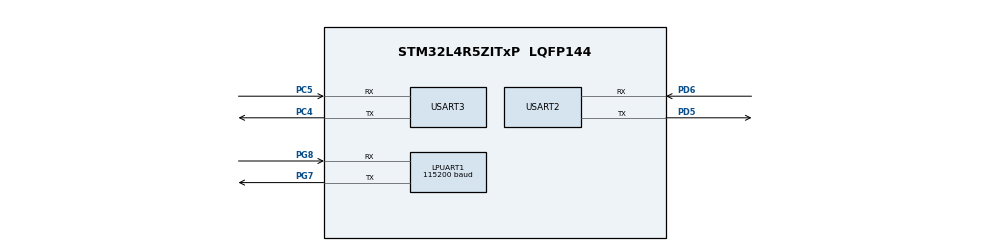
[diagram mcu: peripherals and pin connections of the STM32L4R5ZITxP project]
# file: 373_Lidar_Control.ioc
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LPUART1.BaudRate=115200
LPUART1.WordLength=UART_WORDLENGTH_8B
Mcu.Family=STM32L4
Mcu.Name=STM32L4R5ZITxP
Mcu.Package=LQFP144
NVIC.PriorityGroup=NVIC_PRIORITYGROUP_4
NVIC.USART2_IRQn=true\:0\:0\:false\:false\:true\:true\:true\:true
PA0.Signal=S_TIM2_CH1
PA1.Signal=ADCx_IN6
PA10.Signal=USB_OTG_FS_ID
PA13\ (JTMS/SWDIO).Signal=SYS_JTMS-SWDIO
PA14\ (JTCK/SWCLK).Signal=SYS_JTCK-SWCLK
PA3.Signal=ADCx_IN8
PA4.Signal=SPI1_NSS
PA5.Signal=SPI1_SCK
PA6.Signal=SPI1_MISO
PA7.Signal=SPI1_MOSI
PA8.Signal=USB_OTG_FS_SOF
PA9.Signal=USB_OTG_FS_VBUS
PB0.Signal=S_TIM3_CH3
PB1.Signal=ADCx_IN16
PB10.Signal=S_TIM2_CH3
PB12.Signal=SAI2_FS_A
PB13.Signal=SAI2_SCK_A
PB14.Signal=S_TIM15_CH1
PB15.Signal=SAI2_SD_A
PB2.Signal=COMP1_INP
PB3\ (JTDO/TRACESWO).Signal=SPI3_SCK
PB4\ (NJTRST).Signal=SPI3_MISO
PB5.Signal=SPI3_MOSI
PB6.Signal=COMP2_INP
PB8.Signal=I2C1_SCL
PB9.Signal=I2C1_SDA
PC0.Signal=ADCx_IN1
PC1.Signal=ADCx_IN2
PC10.Signal=UART4_TX
PC11.Signal=UART4_RX
PC12.Signal=SDMMC1_CK
PC13.Signal=SYS_WKUP2
PC14-OSC32_IN\ (PC14).Signal=RCC_OSC32_IN
PC15-OSC32_OUT\ (PC15).Signal=RCC_OSC32_OUT
PC2.Signal=ADCx_IN3
PC3.Signal=ADCx_IN4
PC4.Mode=Asynchronous
PC4.Signal=USART3_TX
PC5.Mode=Asynchronous
PC5.Signal=USART3_RX
PC6.Signal=SAI2_MCLK_A
PC7.Signal=S_TIM3_CH2
PC8.Signal=SDMMC1_D0
PC9.Signal=SDMMC1_D1
PD0.Signal=CAN1_RX
PD14.Signal=S_TIM4_CH3
PD15.Signal=S_TIM4_CH4
PD2.Signal=SDMMC1_CMD
PD3.Signal=USART2_CTS
PD4.Signal=USART2_RTS
PD5.Mode=Asynchronous
PD5.Signal=USART2_TX
PD6.Mode=Asynchronous
PD6.Signal=USART2_RX
PE0.Signal=S_TIM4_ETR
PE10.Signal=TIM1_CH2N
PE11.Signal=S_TIM1_CH2
PE12.Signal=TIM1_CH3N
PE13.Signal=S_TIM1_CH3
PE14.Signal=TIM1_BKIN2
PE15.Signal=TIM1_BKIN
PE2.Signal=SAI1_MCLK_A
PE3.Signal=SAI1_SD_B
PE7.Signal=S_TIM1_ETR
PE8.Signal=TIM1_CH1N
PE9.Signal=S_TIM1_CH1
PF0.Signal=I2C2_SDA
PF1.Signal=I2C2_SCL
PF2.Signal=I2C2_SMBA
PF7.Signal=SAI1_MCLK_B
PG7.Mode=Asynchronous
PG7.Signal=LPUART1_TX
PG8.Mode=Asynchronous
PG8.Signal=LPUART1_RX
PH0-OSC_IN\ (PH0).Signal=RCC_OSC_IN
PH1-OSC_OUT\ (PH1).Signal=RCC_OSC_OUT
ProjectManager.HeapSize=0x200
ProjectManager.StackSize=0x400
ProjectManager.TargetToolchain=STM32CubeIDE
RCC.HSE_VALUE=8000000
RCC.HSI48_VALUE=48000000
RCC.HSI_VALUE=16000000
RCC.LSE_VALUE=32768
RCC.MSI_VALUE=4000000
RCC.VCOOutputFreq_Value=32000000
SH.ADCx_IN1.0=ADC1_IN1
SH.ADCx_IN16.0=ADC1_IN16
SH.ADCx_IN2.0=ADC1_IN2
SH.ADCx_IN3.0=ADC1_IN3
SH.ADCx_IN4.0=ADC1_IN4
SH.ADCx_IN6.0=ADC1_IN6
SH.ADCx_IN8.0=ADC1_IN8
SH.S_TIM15_CH1.0=TIM15_CH1
SH.S_TIM1_CH1.0=TIM1_CH1
SH.S_TIM1_CH2.0=TIM1_CH2
SH.S_TIM1_CH3.0=TIM1_CH3
SH.S_TIM1_ETR.0=TIM1_ETR
SH.S_TIM2_CH1.0=TIM2_CH1
SH.S_TIM2_CH3.0=TIM2_CH3
SH.S_TIM3_CH2.0=TIM3_CH2
SH.S_TIM3_CH3.0=TIM3_CH3
SH.S_TIM4_CH3.0=TIM4_CH3
SH.S_TIM4_CH4.0=TIM4_CH4
SH.S_TIM4_ETR.0=TIM4_ETR
USART2.VirtualMode-Asynchronous=VM_ASYNC
USART3.VirtualMode-Asynchronous=VM_ASYNC
board=NUCLEO-L4R5ZI-P

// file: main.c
/* USER CODE BEGIN Header */
/**
  ******************************************************************************
  * @file           : main.c
  * @brief          : Main program body
  ******************************************************************************
  * @attention
  *
  * Copyright (c) 2025 STMicroelectronics.
  * All rights reserved.
  *
  * This software is licensed under terms that can be found in the LICENSE file
  * in the root directory of this software component.
  * If no LICENSE file comes with this software, it is provided AS-IS.
  *
  ******************************************************************************
  */
/* USER CODE END Header */
#include "main.h"

/* USER CODE BEGIN Includes */
#include "stdbool.h"
#include "math.h"
#include "stdio.h"

/* USER CODE END Includes */

/* USER CODE BEGIN PD */
#define PI 3.141592654
/* USER CODE END PD */

UART_HandleTypeDef hlpuart1;
UART_HandleTypeDef huart2;
UART_HandleTypeDef huart3;

/* USER CODE BEGIN PV */
uint8_t data_buffer[2000];
uint16_t express_distance[40];
int8_t express_theta[40];
float w_i = 0;

char uart_rx_buffer[64];

float theta_min = 0, theta_max = 90;
float x_min = 9, x_max = 26;
float y_min = 0, y_max = 22;

float x_hundreds = 5;
float x_tens_ones = 65;
float y_hundreds = 4;
float y_tens_ones = 58;

// 1280, 1028
// 640, 480
// 563, 457
int x_resolution = 272;
int y_resolution = 340;

/* USER CODE END PV */

void SystemClock_Config(void);
static void MX_GPIO_Init(void);
static void MX_USART2_UART_Init(void);
static void MX_USART3_UART_Init(void);
static void MX_LPUART1_UART_Init(void);

/* USER CODE BEGIN 0 */

void reset_lidar(){
	uint8_t message[2] = {'\0'};
	uint8_t garbage[64] = {'\0'};

	message[0] = 0xA5;
	message[1] = 0x40;
	//printf("\nReset start\n");

	HAL_StatusTypeDef ret;

	ret = HAL_UART_Transmit(&huart2, message, 2, HAL_MAX_DELAY);
	ret = HAL_UART_Receive(&huart2, garbage, 64, 1000);
	HAL_Delay(50);
	//printf("\nReset done\n");
}

bool theta_in_range(float theta_check, float error, float theta_lo, float theta_hi){
	if(theta_check >= theta_lo && theta_check < theta_hi)
		return true;
	theta_check += error;
	if((theta_check >= theta_lo && theta_check < theta_hi)||(theta_check-360.0 >= theta_lo && theta_check-360.0 < theta_hi))
		return true;
	theta_check -= 2.0*error;
	if((theta_check >= theta_lo && theta_check < theta_hi)||(theta_check+360.0 >= theta_lo && theta_check+360.0 < theta_hi))
		return true;

	return false;
}

float get_x(float r, float theta){
	return r*cos(theta*PI/180.0);
}

float get_y(float r, float theta){
	return r*sin(theta*PI/180.0);
}

bool xy_in_range(float r, float theta, float max_x, float max_y){
	float cur_x = get_x(r, theta);
	float cur_y = get_y(r, theta);

//	printf("r=%f\ttheta=%f\nx=%f\ty=%f\n", r, theta, cur_x, cur_y);

	return (cur_x <= max_x && cur_y <= max_y);
}

void express_scan(float x_lo, float x_hi, float y_lo, float y_hi){
	uint8_t message[9] = {'\0'};
	uint8_t descriptor_buffer[100] = {'\0'};

	HAL_StatusTypeDef ret;

	int num_scan = 16;
	ret = HAL_UART_Receive(&huart2, data_buffer, num_scan*84, HAL_MAX_DELAY);

	message[0] = 0xA5;
	message[1] = 0x25;
	ret = HAL_UART_Transmit(&huart2, message, 2, HAL_MAX_DELAY);

	message[0] = 0xA5;
	message[1] = 0x82;
	message[2] = 0x05;
	message[8] = 0x22;
	ret = HAL_UART_Transmit(&huart2, message, 9, HAL_MAX_DELAY);
	ret = HAL_UART_Receive(&huart2, descriptor_buffer, 7, HAL_MAX_DELAY);

	float xx = 0;
	float yy = 0;
	int cnt = 0;

	for(int l = 0; l < num_scan; l++){
		float w_next = ((data_buffer[(l*84)+3] & (0b1111111))<<8) | data_buffer[(l*84)+2];
		w_next /= 64.0f;

		float angle_diff = (w_i <= w_next) ? (w_next - w_i) : (360.0 + w_next - w_i);
		angle_diff /= 32.0;

		if(l>0)
			for(int k = 0; k < 32; k++){
				float theta_k = w_i + (angle_diff*k) - (float)(express_theta[k]/8.0f);

				float x = express_distance[k]*cos(theta_k*PI/180.0)/10;
				float y = express_distance[k]*sin(theta_k*PI/180.0)/10;

				if(x < x_hi && x > x_lo && y > y_lo && y < y_hi){
					xx += x;
					yy += y;
					cnt++;
				}
			}

		w_i = w_next;

		int n = 0;
		for(int i = 4; i < 79; i+=5){
			express_distance[n] = ((data_buffer[(l*84)+i]>>2)&0b111111) | (data_buffer[(l*84)+i+1]<<6);
			uint8_t dt = ((data_buffer[(l*84)+i]&0b11)<<4) | (data_buffer[(l*84)+i+4] & 0b1111);
			express_theta[n] = (dt & 0x20) ? (dt | 0xC0) : dt;
			n++;
			express_distance[n] = ((data_buffer[(l*84)+i+2]>>2)&0b111111) | (data_buffer[(l*84)+i+3]<<6);
			dt = ((data_buffer[(l*84)+i+2]&0b11)<<4) | ((data_buffer[(l*84)+i+4] & 0b11110000)>>4);
			express_theta[n] = (dt & 0x20) ? (dt | 0xC0) : dt;
			n++;
		}
	}

	float avg_x = xx/((float)cnt);
	float avg_y = yy/((float)cnt);

	uint16_t x_coor = x_resolution*((avg_x - x_lo) / (x_hi - x_lo));
	uint16_t y_coor = y_resolution*((avg_y - y_lo) / (y_hi - y_lo));

	uint8_t x_upper = (x_coor >> 8)& 0xFF;
	uint8_t x_lower = (x_coor & 0xFF);
	uint8_t y_upper = (y_coor >> 8)& 0xFF;
	uint8_t y_lower = (y_coor & 0xFF);

	uint8_t xy_coor[4] = {x_upper, x_lower, y_upper, y_lower};

	ret = HAL_UART_Transmit(&huart3, xy_coor, 4, HAL_MAX_DELAY);

	printf("Avg of %d points (x,y): (%f, %f)cm\n\tcoordinate: (%d, %d)\n", cnt, avg_x, avg_y, x_coor, y_coor);
}

void scan_xy(float theta_lo, float theta_hi, float x_lo, float x_hi, float y_lo, float y_hi){
	uint8_t message[2] = {'\0'};
	uint8_t descriptor_buffer [7] = {'\0'};

	int num_data = 280;

	message[0] = 0xA5;
	message[1] = 0x20;

	HAL_StatusTypeDef ret;

	ret = HAL_UART_Transmit(&huart2, message, 2, HAL_MAX_DELAY);
	ret = HAL_UART_Receive(&huart2, descriptor_buffer, 7, 500);
	ret = HAL_UART_Receive(&huart2, data_buffer, 5*num_data, 1700);
	printf("returned: %d\n", ret);

	message[0] = 0xA5;
	message[1] = 0x25;
	ret = HAL_UART_Transmit(&huart2, message, 2, HAL_MAX_DELAY);

	while (ret == HAL_OK){ret = HAL_UART_Receive(&huart2, descriptor_buffer, 1, 1000);}

	HAL_UART_Receive(&huart2, data_buffer, 10, 100);
	HAL_Delay(2);

	float xx = 0;
	float yy = 0;
	int k = 0;

	for(int i = 0; i < num_data; i++){
		int Angle = (data_buffer[(5*i)+2]<<7)|(data_buffer[(5*i)+1]>>1);
		float angle = (float)(Angle) / 64.0;
		int Distance = (data_buffer[(5*i)+4]<<8)|(data_buffer[(5*i)+3]);
		float distance = (float)(Distance) / 4.0;

		if(distance <= 1.0) continue;

		float cur_x = get_x(distance, angle)/10;
		float cur_y = get_y(distance, angle)/10;

		if(theta_in_range(angle, 10.0, theta_lo, theta_hi) && cur_x >= x_lo && cur_x <= x_hi && cur_y >= y_lo && cur_y <= y_hi){
			k++;
			xx = xx+cur_x;
			yy = yy+cur_y;
		}

	}
	float avg_x = xx/((int)k);
	float avg_y = yy/((int)k);

	uint16_t x_coor = x_resolution*((avg_x - x_lo) / (x_hi - x_lo));
	uint16_t y_coor = y_resolution*((avg_y - y_lo) / (y_hi - y_lo));

	uint8_t x_upper = (x_coor >> 8)& 0xFF;
	uint8_t x_lower = (x_coor & 0xFF);
	uint8_t y_upper = (y_coor >> 8)& 0xFF;
	uint8_t y_lower = (y_coor & 0xFF);

	uint8_t xy_coor[4] = {x_upper, x_lower, y_upper, y_lower};

	ret = HAL_UART_Transmit(&huart3, xy_coor, 4, HAL_MAX_DELAY);

	printf("Avg of %d points (x,y): (%f, %f)cm\n\tcoordinate: (%d, %d)\n", k, avg_x, avg_y, x_coor, y_coor);
}

void ask_calibration_input(const char* label, float* variable) {
	char c;
	int i = 0;
    bool reading = true;

	printf("Enter %s: ", label);
	fflush(stdout);

	memset(uart_rx_buffer, 0, sizeof(uart_rx_buffer));

	while (reading && i < sizeof(uart_rx_buffer) - 1) {
		if (HAL_UART_Receive(&hlpuart1, (uint8_t*)&c, 1, 5000) == HAL_OK) {
			HAL_UART_Transmit(&hlpuart1, (uint8_t*)&c, 1, 100);

			if (c == '\r' || c == '\n') {
				reading = false;
				HAL_UART_Receive(&hlpuart1, (uint8_t*)&c, 1, 10);
				break;
			}

			uart_rx_buffer[i++] = c;
		} else {
			break;
		}
	}

	uart_rx_buffer[i] = '\0';

	if (sscanf(uart_rx_buffer, "%f", variable) == 1) {
		printf("\n%s set to: %f\n", label, *variable);
	} else {
		printf("\nInvalid input for %s. Using default: %f\n", label, *variable);
	}

	fflush(stdout);
}

/* USER CODE END 0 */

int main(void)
{

  /* MCU Configuration--------------------------------------------------------*/

  /* Reset of all peripherals, Initializes the Flash interface and the Systick. */
  HAL_Init();

  /* Configure the system clock */
  SystemClock_Config();

  /* Initialize all configured peripherals */
  MX_GPIO_Init();
  MX_USART2_UART_Init();
  MX_USART3_UART_Init();
  MX_LPUART1_UART_Init();
  /* USER CODE BEGIN 2 */

  printf("---\nNew Run\n");
  HAL_Delay(100);
  reset_lidar();
  printf("---\nReset Done\n");

  printf("Would you like to customize lidar parameters? (Y=1 / N=0)\n");
  float customize_param = 0;
  ask_calibration_input("(Y=1 / N=0)", &customize_param);

  if(customize_param == 1){
//	  ask_calibration_input("x_hundreds", &x_hundreds);
//	  ask_calibration_input("x_tens_ones", &x_tens_ones);
//	  ask_calibration_input("y_hundreds", &y_hundreds);
//	  ask_calibration_input("y_tens_ones", &y_tens_ones);
//	  x_resolution = (100*(int)(x_hundreds))+((int)(x_tens_ones));
//	  y_resolution = (100*(int)(y_hundreds))+((int)(y_tens_ones));
	  ask_calibration_input("theta_min", &theta_min);
	  ask_calibration_input("theta_max", &theta_max);
	  ask_calibration_input("x_min", &x_min);
	  ask_calibration_input("x_max", &x_max);
	  ask_calibration_input("y_min", &y_min);
	  ask_calibration_input("y_max", &y_max);
  }

//  printf("x_hud = %d, x_tenone = %d\n", x_hundreds, x_tens_ones);

  printf("Starting scan with parameters:\n");
  printf("resolution: (%d,%d), theta: [%f, %f], x: [%f, %f], y: [%f, %f]\n", x_resolution, y_resolution, theta_min, theta_max, x_min, x_max, y_min, y_max);

//  	uint8_t message[9] = {'\0'};
//	uint8_t descriptor_buffer[9] = {'\0'};
//
//	message[0] = 0xA5;
//	message[1] = 0x82;
//	message[2] = 0x05;
//	message[8] = 0x22;
//
//	HAL_StatusTypeDef ret;
//
//	ret = HAL_UART_Transmit(&huart2, message, 9, HAL_MAX_DELAY);
//	ret = HAL_UART_Receive(&huart2, descriptor_buffer, 7, HAL_MAX_DELAY);

  /* USER CODE END 2 */

  /* Infinite loop */
  /* USER CODE BEGIN WHILE */
  while (1)
  {
	  scan_xy(theta_min, theta_max, x_min, x_max, y_min, y_max);
//	   8, 41, 0, 23 cardboard
//	   9, 47, 0, 31 monitor
//	  express_scan(9, 47, 0, 31);

	  /* USER CODE END WHILE */

  }
}

void SystemClock_Config(void)
{
  RCC_OscInitTypeDef RCC_OscInitStruct = {0};
  RCC_ClkInitTypeDef RCC_ClkInitStruct = {0};

  /** Configure the main internal regulator output voltage
  */
  if (HAL_PWREx_ControlVoltageScaling(PWR_REGULATOR_VOLTAGE_SCALE1) != HAL_OK)
  {
    Error_Handler();
  }

  /** Initializes the RCC Oscillators according to the specified parameters
  * in the RCC_OscInitTypeDef structure.
  */
  RCC_OscInitStruct.OscillatorType = RCC_OSCILLATORTYPE_MSI;
  RCC_OscInitStruct.MSIState = RCC_MSI_ON;
  RCC_OscInitStruct.MSICalibrationValue = 0;
  RCC_OscInitStruct.MSIClockRange = RCC_MSIRANGE_6;
  RCC_OscInitStruct.PLL.PLLState = RCC_PLL_NONE;
  if (HAL_RCC_OscConfig(&RCC_OscInitStruct) != HAL_OK)
  {
    Error_Handler();
  }

  /** Initializes the CPU, AHB and APB buses clocks
  */
  RCC_ClkInitStruct.ClockType = RCC_CLOCKTYPE_HCLK|RCC_CLOCKTYPE_SYSCLK
                              |RCC_CLOCKTYPE_PCLK1|RCC_CLOCKTYPE_PCLK2;
  RCC_ClkInitStruct.SYSCLKSource = RCC_SYSCLKSOURCE_MSI;
  RCC_ClkInitStruct.AHBCLKDivider = RCC_SYSCLK_DIV1;
  RCC_ClkInitStruct.APB1CLKDivider = RCC_HCLK_DIV1;
  RCC_ClkInitStruct.APB2CLKDivider = RCC_HCLK_DIV1;

  if (HAL_RCC_ClockConfig(&RCC_ClkInitStruct, FLASH_LATENCY_0) != HAL_OK)
  {
    Error_Handler();
  }
}

static void MX_LPUART1_UART_Init(void)
{

  hlpuart1.Instance = LPUART1;
  hlpuart1.Init.BaudRate = 115200;
  hlpuart1.Init.WordLength = UART_WORDLENGTH_8B;
  hlpuart1.Init.StopBits = UART_STOPBITS_1;
  hlpuart1.Init.Parity = UART_PARITY_NONE;
  hlpuart1.Init.Mode = UART_MODE_TX_RX;
  hlpuart1.Init.HwFlowCtl = UART_HWCONTROL_NONE;
  hlpuart1.Init.OneBitSampling = UART_ONE_BIT_SAMPLE_DISABLE;
  hlpuart1.Init.ClockPrescaler = UART_PRESCALER_DIV1;
  hlpuart1.AdvancedInit.AdvFeatureInit = UART_ADVFEATURE_NO_INIT;
  hlpuart1.FifoMode = UART_FIFOMODE_DISABLE;
  if (HAL_UART_Init(&hlpuart1) != HAL_OK)
  {
    Error_Handler();
  }
  if (HAL_UARTEx_SetTxFifoThreshold(&hlpuart1, UART_TXFIFO_THRESHOLD_1_8) != HAL_OK)
  {
    Error_Handler();
  }
  if (HAL_UARTEx_SetRxFifoThreshold(&hlpuart1, UART_RXFIFO_THRESHOLD_1_8) != HAL_OK)
  {
    Error_Handler();
  }
  if (HAL_UARTEx_DisableFifoMode(&hlpuart1) != HAL_OK)
  {
    Error_Handler();
  }

}

static void MX_USART2_UART_Init(void)
{

  huart2.Instance = USART2;
  huart2.Init.BaudRate = 115200;
  huart2.Init.WordLength = UART_WORDLENGTH_8B;
  huart2.Init.StopBits = UART_STOPBITS_1;
  huart2.Init.Parity = UART_PARITY_NONE;
  huart2.Init.Mode = UART_MODE_TX_RX;
  huart2.Init.HwFlowCtl = UART_HWCONTROL_NONE;
  huart2.Init.OverSampling = UART_OVERSAMPLING_16;
  huart2.Init.OneBitSampling = UART_ONE_BIT_SAMPLE_DISABLE;
  huart2.Init.ClockPrescaler = UART_PRESCALER_DIV1;
  huart2.AdvancedInit.AdvFeatureInit = UART_ADVFEATURE_NO_INIT;
  if (HAL_UART_Init(&huart2) != HAL_OK)
  {
    Error_Handler();
  }
  if (HAL_UARTEx_SetTxFifoThreshold(&huart2, UART_TXFIFO_THRESHOLD_1_8) != HAL_OK)
  {
    Error_Handler();
  }
  if (HAL_UARTEx_SetRxFifoThreshold(&huart2, UART_RXFIFO_THRESHOLD_1_8) != HAL_OK)
  {
    Error_Handler();
  }
  if (HAL_UARTEx_DisableFifoMode(&huart2) != HAL_OK)
  {
    Error_Handler();
  }

}

static void MX_USART3_UART_Init(void)
{

  huart3.Instance = USART3;
  huart3.Init.BaudRate = 115200;
  huart3.Init.WordLength = UART_WORDLENGTH_8B;
  huart3.Init.StopBits = UART_STOPBITS_1;
  huart3.Init.Parity = UART_PARITY_NONE;
  huart3.Init.Mode = UART_MODE_TX_RX;
  huart3.Init.HwFlowCtl = UART_HWCONTROL_NONE;
  huart3.Init.OverSampling = UART_OVERSAMPLING_16;
  huart3.Init.OneBitSampling = UART_ONE_BIT_SAMPLE_DISABLE;
  huart3.Init.ClockPrescaler = UART_PRESCALER_DIV1;
  huart3.AdvancedInit.AdvFeatureInit = UART_ADVFEATURE_NO_INIT;
  if (HAL_UART_Init(&huart3) != HAL_OK)
  {
    Error_Handler();
  }
  if (HAL_UARTEx_SetTxFifoThreshold(&huart3, UART_TXFIFO_THRESHOLD_1_8) != HAL_OK)
  {
    Error_Handler();
  }
  if (HAL_UARTEx_SetRxFifoThreshold(&huart3, UART_RXFIFO_THRESHOLD_1_8) != HAL_OK)
  {
    Error_Handler();
  }
  if (HAL_UARTEx_DisableFifoMode(&huart3) != HAL_OK)
  {
    Error_Handler();
  }

}

static void MX_GPIO_Init(void)
{
  GPIO_InitTypeDef GPIO_InitStruct = {0};

  /* GPIO Ports Clock Enable */
  __HAL_RCC_GPIOE_CLK_ENABLE();
  __HAL_RCC_GPIOC_CLK_ENABLE();
  __HAL_RCC_GPIOF_CLK_ENABLE();
  __HAL_RCC_GPIOH_CLK_ENABLE();
  __HAL_RCC_GPIOA_CLK_ENABLE();
  __HAL_RCC_GPIOB_CLK_ENABLE();
  __HAL_RCC_GPIOD_CLK_ENABLE();
  __HAL_RCC_GPIOG_CLK_ENABLE();
  HAL_PWREx_EnableVddIO2();

  /*Configure GPIO pins : PE2 PE3 */
  GPIO_InitStruct.Pin = GPIO_PIN_2|GPIO_PIN_3;
  GPIO_InitStruct.Mode = GPIO_MODE_AF_PP;
  GPIO_InitStruct.Pull = GPIO_NOPULL;
  GPIO_InitStruct.Speed = GPIO_SPEED_FREQ_LOW;
  GPIO_InitStruct.Alternate = GPIO_AF13_SAI1;
  HAL_GPIO_Init(GPIOE, &GPIO_InitStruct);

  /*Configure GPIO pins : PF0 PF1 PF2 */
  GPIO_InitStruct.Pin = GPIO_PIN_0|GPIO_PIN_1|GPIO_PIN_2;
  GPIO_InitStruct.Mode = GPIO_MODE_AF_OD;
  GPIO_InitStruct.Pull = GPIO_NOPULL;
  GPIO_InitStruct.Speed = GPIO_SPEED_FREQ_VERY_HIGH;
  GPIO_InitStruct.Alternate = GPIO_AF4_I2C2;
  HAL_GPIO_Init(GPIOF, &GPIO_InitStruct);

  /*Configure GPIO pin : PF7 */
  GPIO_InitStruct.Pin = GPIO_PIN_7;
  GPIO_InitStruct.Mode = GPIO_MODE_AF_PP;
  GPIO_InitStruct.Pull = GPIO_NOPULL;
  GPIO_InitStruct.Speed = GPIO_SPEED_FREQ_LOW;
  GPIO_InitStruct.Alternate = GPIO_AF13_SAI1;
  HAL_GPIO_Init(GPIOF, &GPIO_InitStruct);

  /*Configure GPIO pins : PC0 PC1 PC2 PC3 */
  GPIO_InitStruct.Pin = GPIO_PIN_0|GPIO_PIN_1|GPIO_PIN_2|GPIO_PIN_3;
  GPIO_InitStruct.Mode = GPIO_MODE_ANALOG_ADC_CONTROL;
  GPIO_InitStruct.Pull = GPIO_NOPULL;
  HAL_GPIO_Init(GPIOC, &GPIO_InitStruct);

  /*Configure GPIO pin : PA0 */
  GPIO_InitStruct.Pin = GPIO_PIN_0;
  GPIO_InitStruct.Mode = GPIO_MODE_AF_PP;
  GPIO_InitStruct.Pull = GPIO_NOPULL;
  GPIO_InitStruct.Speed = GPIO_SPEED_FREQ_LOW;
  GPIO_InitStruct.Alternate = GPIO_AF1_TIM2;
  HAL_GPIO_Init(GPIOA, &GPIO_InitStruct);

  /*Configure GPIO pins : PA1 PA3 */
  GPIO_InitStruct.Pin = GPIO_PIN_1|GPIO_PIN_3;
  GPIO_InitStruct.Mode = GPIO_MODE_ANALOG_ADC_CONTROL;
  GPIO_InitStruct.Pull = GPIO_NOPULL;
  HAL_GPIO_Init(GPIOA, &GPIO_InitStruct);

  /*Configure GPIO pins : PA4 PA5 PA6 PA7 */
  GPIO_InitStruct.Pin = GPIO_PIN_4|GPIO_PIN_5|GPIO_PIN_6|GPIO_PIN_7;
  GPIO_InitStruct.Mode = GPIO_MODE_AF_PP;
  GPIO_InitStruct.Pull = GPIO_NOPULL;
  GPIO_InitStruct.Speed = GPIO_SPEED_FREQ_VERY_HIGH;
  GPIO_InitStruct.Alternate = GPIO_AF5_SPI1;
  HAL_GPIO_Init(GPIOA, &GPIO_InitStruct);

  /*Configure GPIO pin : PB0 */
  GPIO_InitStruct.Pin = GPIO_PIN_0;
  GPIO_InitStruct.Mode = GPIO_MODE_AF_PP;
  GPIO_InitStruct.Pull = GPIO_NOPULL;
  GPIO_InitStruct.Speed = GPIO_SPEED_FREQ_LOW;
  GPIO_InitStruct.Alternate = GPIO_AF2_TIM3;
  HAL_GPIO_Init(GPIOB, &GPIO_InitStruct);

  /*Configure GPIO pin : PB1 */
  GPIO_InitStruct.Pin = GPIO_PIN_1;
  GPIO_InitStruct.Mode = GPIO_MODE_ANALOG_ADC_CONTROL;
  GPIO_InitStruct.Pull = GPIO_NOPULL;
  HAL_GPIO_Init(GPIOB, &GPIO_InitStruct);

  /*Configure GPIO pins : PB2 PB6 */
  GPIO_InitStruct.Pin = GPIO_PIN_2|GPIO_PIN_6;
  GPIO_InitStruct.Mode = GPIO_MODE_ANALOG;
  GPIO_InitStruct.Pull = GPIO_NOPULL;
  HAL_GPIO_Init(GPIOB, &GPIO_InitStruct);

  /*Configure GPIO pins : PE7 PE8 PE9 PE10
                           PE11 PE12 PE13 */
  GPIO_InitStruct.Pin = GPIO_PIN_7|GPIO_PIN_8|GPIO_PIN_9|GPIO_PIN_10
                          |GPIO_PIN_11|GPIO_PIN_12|GPIO_PIN_13;
  GPIO_InitStruct.Mode = GPIO_MODE_AF_PP;
  GPIO_InitStruct.Pull = GPIO_NOPULL;
  GPIO_InitStruct.Speed = GPIO_SPEED_FREQ_LOW;
  GPIO_InitStruct.Alternate = GPIO_AF1_TIM1;
  HAL_GPIO_Init(GPIOE, &GPIO_InitStruct);

  /*Configure GPIO pins : PE14 PE15 */
  GPIO_InitStruct.Pin = GPIO_PIN_14|GPIO_PIN_15;
  GPIO_InitStruct.Mode = GPIO_MODE_AF_PP;
  GPIO_InitStruct.Pull = GPIO_NOPULL;
  GPIO_InitStruct.Speed = GPIO_SPEED_FREQ_LOW;
  GPIO_InitStruct.Alternate = GPIO_AF3_TIM1_COMP1;
  HAL_GPIO_Init(GPIOE, &GPIO_InitStruct);

  /*Configure GPIO pin : PB10 */
  GPIO_InitStruct.Pin = GPIO_PIN_10;
  GPIO_InitStruct.Mode = GPIO_MODE_AF_PP;
  GPIO_InitStruct.Pull = GPIO_NOPULL;
  GPIO_InitStruct.Speed = GPIO_SPEED_FREQ_LOW;
  GPIO_InitStruct.Alternate = GPIO_AF1_TIM2;
  HAL_GPIO_Init(GPIOB, &GPIO_InitStruct);

  /*Configure GPIO pins : PB12 PB13 PB15 */
  GPIO_InitStruct.Pin = GPIO_PIN_12|GPIO_PIN_13|GPIO_PIN_15;
  GPIO_InitStruct.Mode = GPIO_MODE_AF_PP;
  GPIO_InitStruct.Pull = GPIO_NOPULL;
  GPIO_InitStruct.Speed = GPIO_SPEED_FREQ_LOW;
  GPIO_InitStruct.Alternate = GPIO_AF13_SAI2;
  HAL_GPIO_Init(GPIOB, &GPIO_InitStruct);

  /*Configure GPIO pin : PB14 */
  GPIO_InitStruct.Pin = GPIO_PIN_14;
  GPIO_InitStruct.Mode = GPIO_MODE_AF_PP;
  GPIO_InitStruct.Pull = GPIO_NOPULL;
  GPIO_InitStruct.Speed = GPIO_SPEED_FREQ_LOW;
  GPIO_InitStruct.Alternate = GPIO_AF14_TIM15;
  HAL_GPIO_Init(GPIOB, &GPIO_InitStruct);

  /*Configure GPIO pins : PD14 PD15 */
  GPIO_InitStruct.Pin = GPIO_PIN_14|GPIO_PIN_15;
  GPIO_InitStruct.Mode = GPIO_MODE_AF_PP;
  GPIO_InitStruct.Pull = GPIO_NOPULL;
  GPIO_InitStruct.Speed = GPIO_SPEED_FREQ_LOW;
  GPIO_InitStruct.Alternate = GPIO_AF2_TIM4;
  HAL_GPIO_Init(GPIOD, &GPIO_InitStruct);

  /*Configure GPIO pin : PC6 */
  GPIO_InitStruct.Pin = GPIO_PIN_6;
  GPIO_InitStruct.Mode = GPIO_MODE_AF_PP;
  GPIO_InitStruct.Pull = GPIO_NOPULL;
  GPIO_InitStruct.Speed = GPIO_SPEED_FREQ_LOW;
  GPIO_InitStruct.Alternate = GPIO_AF13_SAI2;
  HAL_GPIO_Init(GPIOC, &GPIO_InitStruct);

  /*Configure GPIO pin : PC7 */
  GPIO_InitStruct.Pin = GPIO_PIN_7;
  GPIO_InitStruct.Mode = GPIO_MODE_AF_PP;
  GPIO_InitStruct.Pull = GPIO_NOPULL;
  GPIO_InitStruct.Speed = GPIO_SPEED_FREQ_LOW;
  GPIO_InitStruct.Alternate = GPIO_AF2_TIM3;
  HAL_GPIO_Init(GPIOC, &GPIO_InitStruct);

  /*Configure GPIO pins : PC8 PC9 PC12 */
  GPIO_InitStruct.Pin = GPIO_PIN_8|GPIO_PIN_9|GPIO_PIN_12;
  GPIO_InitStruct.Mode = GPIO_MODE_AF_PP;
  GPIO_InitStruct.Pull = GPIO_NOPULL;
  GPIO_InitStruct.Speed = GPIO_SPEED_FREQ_VERY_HIGH;
  GPIO_InitStruct.Alternate = GPIO_AF12_SDMMC1;
  HAL_GPIO_Init(GPIOC, &GPIO_InitStruct);

  /*Configure GPIO pins : PA8 PA10 */
  GPIO_InitStruct.Pin = GPIO_PIN_8|GPIO_PIN_10;
  GPIO_InitStruct.Mode = GPIO_MODE_AF_PP;
  GPIO_InitStruct.Pull = GPIO_NOPULL;
  GPIO_InitStruct.Speed = GPIO_SPEED_FREQ_VERY_HIGH;
  GPIO_InitStruct.Alternate = GPIO_AF10_OTG_FS;
  HAL_GPIO_Init(GPIOA, &GPIO_InitStruct);

  /*Configure GPIO pin : PA9 */
  GPIO_InitStruct.Pin = GPIO_PIN_9;
  GPIO_InitStruct.Mode = GPIO_MODE_INPUT;
  GPIO_InitStruct.Pull = GPIO_NOPULL;
  HAL_GPIO_Init(GPIOA, &GPIO_InitStruct);

  /*Configure GPIO pins : PC10 PC11 */
  GPIO_InitStruct.Pin = GPIO_PIN_10|GPIO_PIN_11;
  GPIO_InitStruct.Mode = GPIO_MODE_AF_PP;
  GPIO_InitStruct.Pull = GPIO_NOPULL;
  GPIO_InitStruct.Speed = GPIO_SPEED_FREQ_VERY_HIGH;
  GPIO_InitStruct.Alternate = GPIO_AF8_UART4;
  HAL_GPIO_Init(GPIOC, &GPIO_InitStruct);

  /*Configure GPIO pin : PD0 */
  GPIO_InitStruct.Pin = GPIO_PIN_0;
  GPIO_InitStruct.Mode = GPIO_MODE_AF_PP;
  GPIO_InitStruct.Pull = GPIO_NOPULL;
  GPIO_InitStruct.Speed = GPIO_SPEED_FREQ_VERY_HIGH;
  GPIO_InitStruct.Alternate = GPIO_AF9_CAN1;
  HAL_GPIO_Init(GPIOD, &GPIO_InitStruct);

  /*Configure GPIO pin : PD2 */
  GPIO_InitStruct.Pin = GPIO_PIN_2;
  GPIO_InitStruct.Mode = GPIO_MODE_AF_PP;
  GPIO_InitStruct.Pull = GPIO_NOPULL;
  GPIO_InitStruct.Speed = GPIO_SPEED_FREQ_VERY_HIGH;
  GPIO_InitStruct.Alternate = GPIO_AF12_SDMMC1;
  HAL_GPIO_Init(GPIOD, &GPIO_InitStruct);

  /*Configure GPIO pins : PB3 PB4 PB5 */
  GPIO_InitStruct.Pin = GPIO_PIN_3|GPIO_PIN_4|GPIO_PIN_5;
  GPIO_InitStruct.Mode = GPIO_MODE_AF_PP;
  GPIO_InitStruct.Pull = GPIO_NOPULL;
  GPIO_InitStruct.Speed = GPIO_SPEED_FREQ_VERY_HIGH;
  GPIO_InitStruct.Alternate = GPIO_AF6_SPI3;
  HAL_GPIO_Init(GPIOB, &GPIO_InitStruct);

  /*Configure GPIO pins : PB8 PB9 */
  GPIO_InitStruct.Pin = GPIO_PIN_8|GPIO_PIN_9;
  GPIO_InitStruct.Mode = GPIO_MODE_AF_OD;
  GPIO_InitStruct.Pull = GPIO_NOPULL;
  GPIO_InitStruct.Speed = GPIO_SPEED_FREQ_VERY_HIGH;
  GPIO_InitStruct.Alternate = GPIO_AF4_I2C1;
  HAL_GPIO_Init(GPIOB, &GPIO_InitStruct);

  /*Configure GPIO pin : PE0 */
  GPIO_InitStruct.Pin = GPIO_PIN_0;
  GPIO_InitStruct.Mode = GPIO_MODE_AF_PP;
  GPIO_InitStruct.Pull = GPIO_NOPULL;
  GPIO_InitStruct.Speed = GPIO_SPEED_FREQ_LOW;
  GPIO_InitStruct.Alternate = GPIO_AF2_TIM4;
  HAL_GPIO_Init(GPIOE, &GPIO_InitStruct);

}

/* USER CODE BEGIN 4 */

#ifdef __GNUC__
#define PUTCHAR_PROTOTYPE int __io_putchar(int ch)
#else
  #define PUTCHAR_PROTOTYPE int fputc(int ch, FILE *f)
#endif /* __GNUC__ */
PUTCHAR_PROTOTYPE
{
  HAL_UART_Transmit(&hlpuart1, (uint8_t *)&ch, 1, 0xFFFF);
  return ch;
}

/* USER CODE END 4 */

void Error_Handler(void)
{
  __disable_irq();
  while (1)
  {
  }
}
